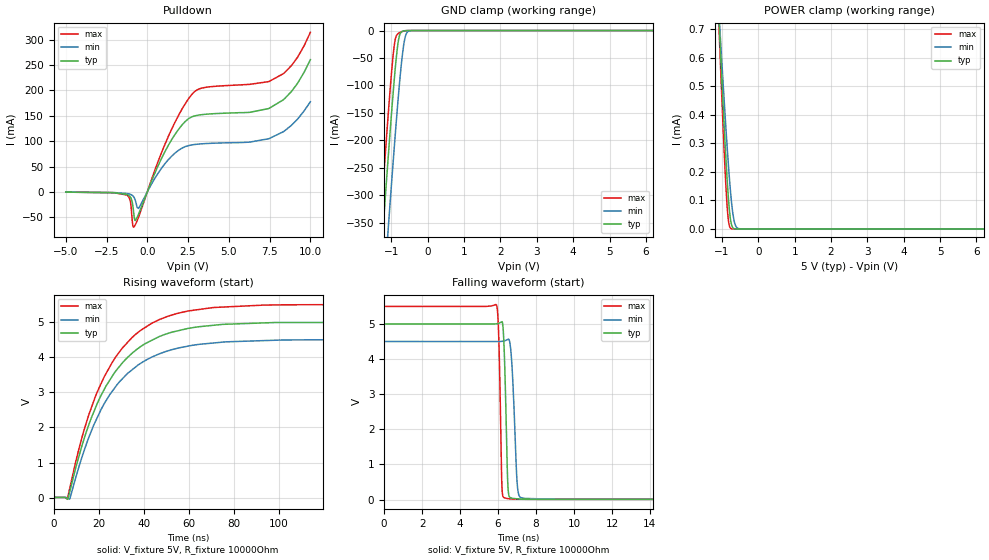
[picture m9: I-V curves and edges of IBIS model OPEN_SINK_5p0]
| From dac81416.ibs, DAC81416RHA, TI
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|   OPEN_SINK_5p0 Model
[Model]   OPEN_SINK_5p0
Model_type   Open_sink
Polarity   Non-Inverting
Vmeas = 2.5
Vref = 5
Cref = 2pF
Rref = 10000
|   typ   min   max
C_comp   3.764E-13  3.611E-13  3.869E-13
|  Where Nom  PVT is Nominal Process, 5.0V,   25C
|   Fast PVT is Strong Process,  5.5V,  -40C
|   Slow PVT is Weak Process,   4.5V,  125C
[Voltage Range]   5   4.5   5.5
|Junction Temperature
[Temperature Range]   25   125   -40
[Pullup Reference]   5   4.5   5.5
[Pulldown Reference]   0   0   0
[Power Clamp Reference]   5   4.5   5.5
[GND Clamp Reference]   0   0   0
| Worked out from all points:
|   slope of the pulldown table from 0 to 0.75 V, typ, clamps not added: 13.1 ohm
|   GND clamp passes 1 mA (typ) near -0.68 V on its own axis
|   POWER clamp passes 1 mA (typ) near -1.18 V on its own axis
|   falling waveform, V_fixture 5V, R_fixture 10000Ohm: 20-80 % time 140ps typ, 207ps min, 122ps max; typ from 5 V to 0.006 V
|   rising waveform, V_fixture 5V, R_fixture 10000Ohm: 20-80 % time 22.5ns typ, 22.7ns min, 22.4ns max; typ from 0.006 V to 5 V
[Pulldown]
|   Voltage   I(typ)   I(min)   I(max)
-5V       -472.3uA   -417.2uA   -433.8uA
-1.25V    -4.941mA   -3.087mA   -6.125mA
-1.04V    -9.943mA   -4.777mA   -18.54mA
-890mV    -26.04mA   -7.65mA    -65.85mA
-830mV    -42.35mA   -9.881mA   -69.24mA
-740mV    -56.39mA   -16.14mA   -64.92mA
-545mV    -44.47mA   -32.47mA   -50.44mA
1.27V     90.51mA    62.74mA    107.7mA
2.74V     147.9mA    92.6mA     192.4mA
7.48V     164.8mA    105.1mA    217.8mA
8.845V    198mA      131.3mA    249.1mA
10V       260.5mA    177.6mA    314.4mA
[GND Clamp]
|   Voltage   I(typ)   I(min)   I(max)
-5V       -4.07A     -4.19A     -3.999A
-1.445V   -565.5mA   -696.6mA   -486.6mA
-1.25V    -380.7mA   -512.1mA   -301.5mA
-1.1V     -242.5mA   -373mA     -164.3mA
-1.055V   -202.2mA   -332mA     -125.1mA
-935mV    -100.5mA   -225.4mA   -34.94mA
-890mV    -66.53mA   -186.8mA   -15.24mA
-815mV    -21.92mA   -125.5mA   -5.554mA
-710mV    -1.734mA   -51.3mA    -2.035mA
-605mV    -195.3uA   -8.491mA   -359.9uA
-410mV    -1.326uA   -42.41uA   -1.606uA
10V       0A         0A         0A
[POWER Clamp]
|   Voltage   I(typ)   I(min)   I(max)
-5V       12.28mA    10.17mA    14.24mA
-1.1V     780.8uA    794.8uA    761.5uA
-1.04V    619.1uA    663uA      571.9uA
-920mV    313.4uA    410.1uA    220.9uA
-860mV    178.7uA    292.5uA    83.25uA
-815mV    95.22uA    211uA      22.92uA
-770mV    37.45uA    138.4uA    3.581uA
-740mV    16.31uA    96.97uA    879.8nA
-695mV    3.631uA    49.1uA     95.21nA
-650mV    693.4nA    20.3uA     3.682nA
-530mV    24.54nA    918.5nA    0A
10V       0A         0A         0A
[Ramp]
R_load = 10000
|   typ   min   max
dV/dt_r   2.99645/2.2458e-08   2.69567/2.25741e-08   3.29657/2.22469e-08
dV/dt_f   2.99645/1.40128e-10   2.69567/2.07079e-10   3.29657/1.21957e-10
[Falling Waveform]
V_fixture = 5V
V_fixture_min = 4.5V
V_fixture_max = 5.5V
R_fixture = 10000Ohm
C_fixture = 0F
|   Time   V(typ)   V(min)   V(max)
0s        5V         4.5V       5.5V
5.914ns   5.006V     4.499V     5.545V
6.043ns   5.02V      4.499V     4.544V
6.212ns   5.066V     4.506V     304.9mV
6.325ns   4.248V     4.513V     52.57mV
6.467ns   1.331V     4.547V     29.89mV
6.714ns   42.41mV    3.976V     15.93mV
7.031ns   19.56mV    327.2mV    9.462mV
7.372ns   10.31mV    32.37mV    7.389mV
50ns      5.92mV     7.211mV    5.715mV
[Rising Waveform]
V_fixture = 5V
V_fixture_min = 4.5V
V_fixture_max = 5.5V
R_fixture = 10000Ohm
C_fixture = 0F
|   Time   V(typ)   V(min)   V(max)
0s        5.92mV     7.211mV    5.715mV
6.081ns   -35.81mV   -9.569mV   -45mV
7.349ns   204.7mV    -4.156mV   310.5mV
12.85ns   1.529V     1.203V     1.771V
18.48ns   2.541V     2.156V     2.866V
26.14ns   3.469V     3.039V     3.865V
34.82ns   4.113V     3.64V      4.56V
54.8ns    4.747V     4.252V     5.245V
93.07ns   4.975V     4.471V     5.483V
5us       5V         4.5V       5.5V
